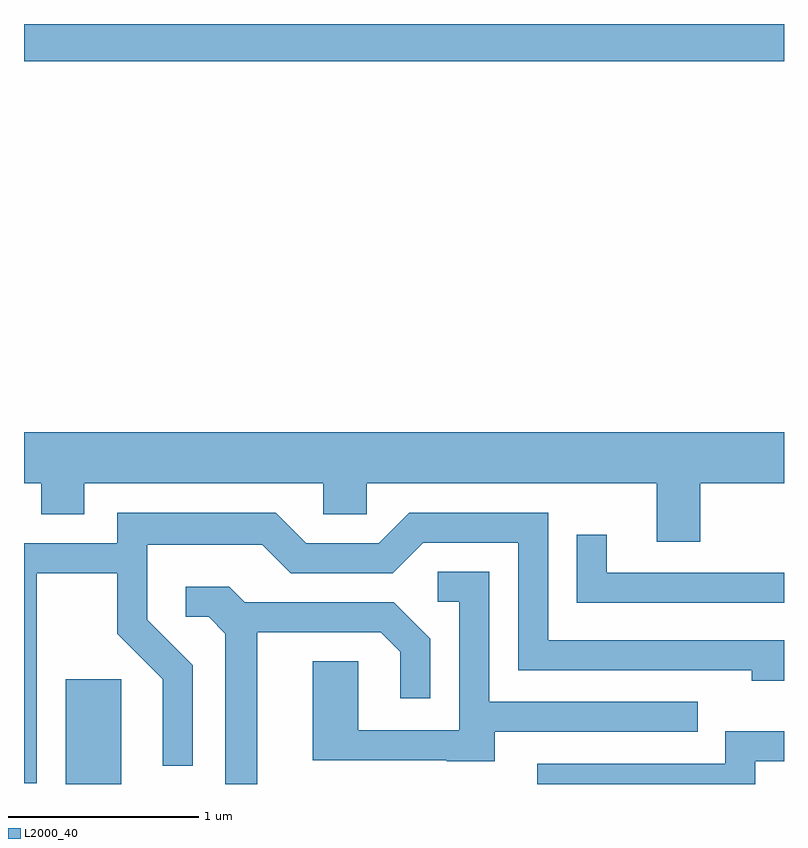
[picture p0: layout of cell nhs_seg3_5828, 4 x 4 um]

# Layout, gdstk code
import gdstk
lib = gdstk.Library(unit=1e-6, precision=1e-09)
def R(c, l, rs):  # rectangles x0, y0, x1, y1
    for r in rs: c.add(gdstk.rectangle(r[:2], r[2:], *l))
def P(c, l, *ps):  # polygons
    for p in ps: c.add(gdstk.Polygon(p, *l))
L2000_40 = (2000, 40)

nhs_seg3_5828 = lib.new_cell('nhs_seg3_5828')
R(nhs_seg3_5828, L2000_40, [(355.831,1219.892,356.124,1220.444), (355.611,1223.696,359.611,1223.892)])
P(nhs_seg3_5828, L2000_40, [(359.169,1221.476),(359.611,1221.476),(359.611,1221.744),(355.611,1221.744),(355.611,1221.476),(355.701,1221.476),(355.701,1221.311),(355.929,1221.311),(355.929,1221.476),(357.186,1221.476),(357.186,1221.311),(357.414,1221.311),(357.414,1221.476),(358.941,1221.476),(358.941,1221.166),(359.169,1221.166)],
  [(355.679,1221.001),(356.101,1221.001),(356.101,1220.684),(356.341,1220.444),(356.341,1219.988),(356.499,1219.988),(356.499,1220.517),(356.259,1220.757),(356.259,1221.151),(356.864,1221.151),(357.014,1221.001),(357.552,1221.001),(357.712,1221.161),(358.211,1221.161),(358.211,1220.491),(359.441,1220.491),(359.441,1220.436),(359.611,1220.436),(359.611,1220.649),(358.369,1220.649),(358.369,1221.319),(357.639,1221.319),(357.479,1221.159),(357.097,1221.159),(356.937,1221.319),(356.101,1221.319),(356.101,1221.159),(355.611,1221.159),(355.611,1219.896),(355.679,1219.896)],
  [(359.611,1221.004),(358.679,1221.004),(358.679,1221.203),(358.521,1221.203),(358.521,1220.846),(359.611,1220.846)],
  [(358.089,1220.166),(359.158,1220.166),(359.158,1220.324),(358.059,1220.324),(358.059,1221.009),(357.788,1221.009),(357.788,1220.851),(357.901,1220.851),(357.901,1220.174),(357.369,1220.174),(357.369,1220.539),(357.131,1220.539),(357.131,1220.016),(357.835,1220.016),(357.835,1220.011),(358.089,1220.011)],
  [(356.839,1220.691),(357.489,1220.691),(357.591,1220.589),(357.591,1220.343),(357.749,1220.343),(357.749,1220.657),(357.557,1220.849),(356.772,1220.849),(356.692,1220.929),(356.463,1220.929),(356.463,1220.771),(356.584,1220.771),(356.671,1220.684),(356.671,1219.892),(356.839,1219.892)],
  [(359.459,1220.011),(359.611,1220.011),(359.611,1220.169),(359.301,1220.169),(359.301,1219.999),(358.311,1219.999),(358.311,1219.892),(359.459,1219.892)])

lib.write_gds('nhs_seg3_5828.gds')
